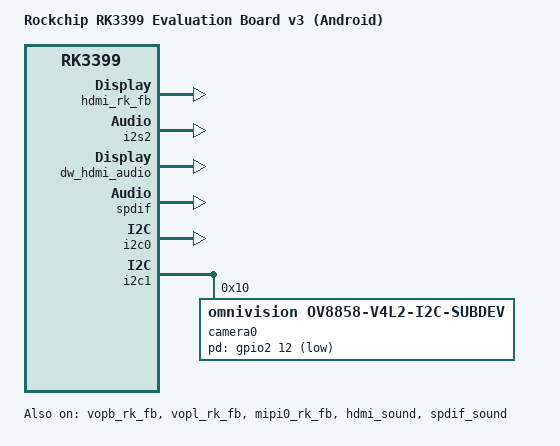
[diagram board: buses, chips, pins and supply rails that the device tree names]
/*
 * Copyright (c) 2016 Fuzhou Rockchip Electronics Co., Ltd
 *
 * This file is dual-licensed: you can use it either under the terms
 * of the GPL or the X11 license, at your option. Note that this dual
 * licensing only applies to this file, and not this project as a
 * whole.
 *
 *  a) This file is free software; you can redistribute it and/or
 *     modify it under the terms of the GNU General Public License as
 *     published by the Free Software Foundation; either version 2 of the
 *     License, or (at your option) any later version.
 *
 *     This file is distributed in the hope that it will be useful,
 *     but WITHOUT ANY WARRANTY; without even the implied warranty of
 *     MERCHANTABILITY or FITNESS FOR A PARTICULAR PURPOSE.  See the
 *     GNU General Public License for more details.
 *
 * Or, alternatively,
 *
 *  b) Permission is hereby granted, free of charge, to any person
 *     obtaining a copy of this software and associated documentation
 *     files (the "Software"), to deal in the Software without
 *     restriction, including without limitation the rights to use,
 *     copy, modify, merge, publish, distribute, sublicense, and/or
 *     sell copies of the Software, and to permit persons to whom the
 *     Software is furnished to do so, subject to the following
 *     conditions:
 *
 *     The above copyright notice and this permission notice shall be
 *     included in all copies or substantial portions of the Software.
 *
 *     THE SOFTWARE IS PROVIDED "AS IS", WITHOUT WARRANTY OF ANY KIND,
 *     EXPRESS OR IMPLIED, INCLUDING BUT NOT LIMITED TO THE WARRANTIES
 *     OF MERCHANTABILITY, FITNESS FOR A PARTICULAR PURPOSE AND
 *     NONINFRINGEMENT. IN NO EVENT SHALL THE AUTHORS OR COPYRIGHT
 *     HOLDERS BE LIABLE FOR ANY CLAIM, DAMAGES OR OTHER LIABILITY,
 *     WHETHER IN AN ACTION OF CONTRACT, TORT OR OTHERWISE, ARISING
 *     FROM, OUT OF OR IN CONNECTION WITH THE SOFTWARE OR THE USE OR
 *     OTHER DEALINGS IN THE SOFTWARE.
 */

/dts-v1/;

#include "rk3399-evb-rev3.dtsi"
#include "rk3399-android-6.0.dtsi"

/ {
	model = "Rockchip RK3399 Evaluation Board v3 (Android)";
	compatible = "rockchip,android", "rockchip,rk3399-evb-rev3", "rockchip,rk3399";
};

&rk_screen {
	#include <dt-bindings/display/screen-timing/lcd-tv080wum-nl0-mipi.dtsi>
};

&vopb_rk_fb {
	status = "okay";
	power_ctr: power_ctr {
		rockchip,debug = <0>;
		lcd_en: lcd-en {
			rockchip,power_type = <GPIO>;
			gpios = <&gpio1 13 GPIO_ACTIVE_HIGH>;
			rockchip,delay = <10>;
		};

		/*lcd_cs: lcd-cs {
			rockchip,power_type = <GPIO>;
			gpios = <&gpio0 21 GPIO_ACTIVE_HIGH>;//GPIO_C5 = 21
			rockchip,delay = <10>;
		};*/

		/*lcd_rst: lcd-rst {
			rockchip,power_type = <GPIO>;
			gpios = <&gpio3 GPIO_D6 GPIO_ACTIVE_HIGH>;
			rockchip,delay = <5>;
		};*/
	};
};

&vopl_rk_fb {
	status = "okay";
};

&mipi0_rk_fb {
	status = "okay";
};

&hdmi_rk_fb {
	status = "okay";
	rockchip,hdmi_video_source = <DISPLAY_SOURCE_LCDC1>;
};

&i2s2 {
	status = "okay";
};

&dw_hdmi_audio {
	status = "okay";
};

&hdmi_sound {
	status = "okay";
};

&spdif {
	status = "okay";
};

&spdif_out {
	status = "okay";
};

&spdif_sound {
	status = "okay";
};

&i2c0 {
	status = "okay";
};

&i2c1 {
	status = "okay";
	camera0: camera-module@10 {
		status = "okay";
		compatible = "omnivision,ov8858-v4l2-i2c-subdev";
		reg = < 0x10 >;
		device_type = "v4l2-i2c-subdev";

		clocks = <&cru SCLK_CIF_OUT>;
		clock-names = "clk_cif_out";

		pinctrl-names = "rockchip,camera_default", "rockchip,camera_sleep";
		pinctrl-0 = <&cam0_default_pins>;
		pinctrl-1 = <&cam0_sleep_pins>;

		rockchip,pd-gpio = <&gpio2 12 GPIO_ACTIVE_LOW>;
		rockchip,camera-module-mclk-name = "clk_cif_out";
		rockchip,camera-module-facing = "back";
		rockchip,camera-module-name = "cmk-cb0695-fv1";
		rockchip,camera-module-len-name = "lg9569a2";
		rockchip,camera-module-fov-h = "66.0";
		rockchip,camera-module-fov-v = "50.1";
		rockchip,camera-module-orientation = <0>;
		rockchip,camera-module-iq-flip = <0>;
		rockchip,camera-module-iq-mirror = <0>;
		rockchip,camera-module-flip = <0>;
		rockchip,camera-module-mirror = <0>;

		/* resolution.w, resolution.h, defrect.left, defrect.top, defrect.w, defrect.h */
		rockchip,camera-module-defrect0 = <3264 2448 0 0 3264 2448>;
		rockchip,camera-module-flash-support = <0>;
		rockchip,camera-module-mipi-dphy-index = <0>;
	};
};
/*
&isp0 {
	status = "okay";
};

&isp1 {
	status = "okay";
};

&cif_isp0 {
	status = "okay";
	rockchip,camera-modules-attached = <&camera0>;
};*/
